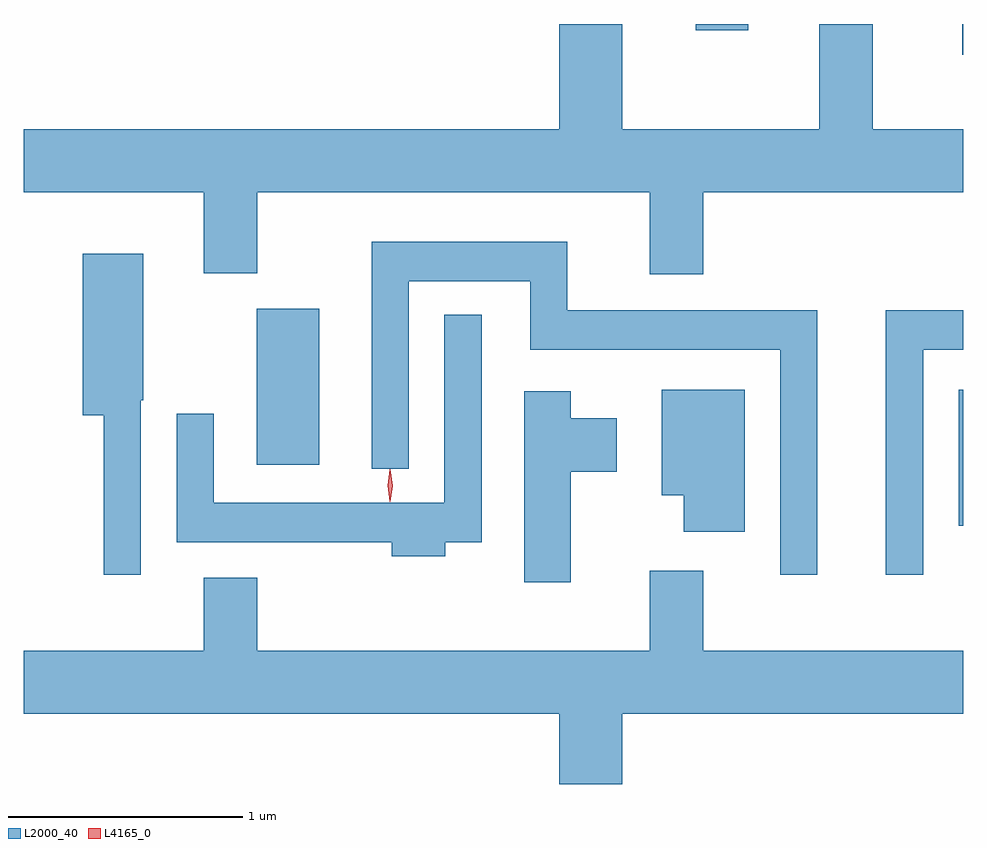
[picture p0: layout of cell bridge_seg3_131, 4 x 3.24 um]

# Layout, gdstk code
import gdstk
lib = gdstk.Library(unit=1e-6, precision=1e-09)
def R(c, l, rs):  # rectangles x0, y0, x1, y1
    for r in rs: c.add(gdstk.rectangle(r[:2], r[2:], *l))
def P(c, l, *ps):  # polygons
    for p in ps: c.add(gdstk.Polygon(p, *l))
L2000_40 = (2000, 40)
L4165_0 = (4165, 0)

bridge_seg3_131 = lib.new_cell('bridge_seg3_131')
R(bridge_seg3_131, L2000_40, [(876.116,1188.976,876.135,1189.554), (873.126,1189.236,873.394,1189.899), (876.131,1190.981,876.135,1191.112), (874.996,1191.086,875.219,1191.112)])
P(bridge_seg3_131, L2000_40, [(875.029,1190.396),(876.135,1190.396),(876.135,1190.664),(875.749,1190.664),(875.749,1191.112),(875.521,1191.112),(875.521,1190.664),(874.684,1190.664),(874.684,1191.112),(874.416,1191.112),(874.416,1190.664),(872.135,1190.664),(872.135,1190.396),(872.901,1190.396),(872.901,1190.051),(873.129,1190.051),(873.129,1190.396),(874.801,1190.396),(874.801,1190.046),(875.029,1190.046)],
  [(875.514,1189.894),(874.449,1189.894),(874.449,1190.184),(873.616,1190.184),(873.616,1189.218),(873.774,1189.218),(873.774,1190.016),(874.291,1190.016),(874.291,1189.726),(875.356,1189.726),(875.356,1188.768),(875.514,1188.768)],
  [(872.634,1189.51),(872.644,1189.51),(872.644,1190.134),(872.386,1190.134),(872.386,1189.446),(872.476,1189.446),(872.476,1188.768),(872.634,1188.768)],
  [(875.964,1189.726),(876.135,1189.726),(876.135,1189.894),(875.806,1189.894),(875.806,1188.768),(875.964,1188.768)],
  [(873.929,1188.906),(874.084,1188.906),(874.084,1189.873),(873.926,1189.873),(873.926,1189.074),(872.944,1189.074),(872.944,1189.453),(872.786,1189.453),(872.786,1188.906),(873.701,1188.906),(873.701,1188.846),(873.929,1188.846)],
  [(875.204,1189.554),(874.851,1189.554),(874.851,1189.106),(874.946,1189.106),(874.946,1188.951),(875.204,1188.951)],
  [(874.464,1189.206),(874.659,1189.206),(874.659,1189.434),(874.464,1189.434),(874.464,1189.549),(874.266,1189.549),(874.266,1188.736),(874.464,1188.736)],
  [(874.684,1188.176),(876.135,1188.176),(876.135,1188.444),(875.029,1188.444),(875.029,1188.784),(874.801,1188.784),(874.801,1188.444),(873.129,1188.444),(873.129,1188.754),(872.901,1188.754),(872.901,1188.444),(872.135,1188.444),(872.135,1188.176),(874.416,1188.176),(874.416,1187.876),(874.684,1187.876)])
P(bridge_seg3_131, L4165_0, [(873.695,1189.077),(873.694,1189.078),(873.685,1189.146),(873.694,1189.216),(873.695,1189.216),(873.695,1189.216),(873.705,1189.146),(873.695,1189.078)],
  [(873.695,1189.079),(873.694,1189.08),(873.685,1189.146),(873.694,1189.212),(873.695,1189.213),(873.695,1189.212),(873.705,1189.146),(873.695,1189.08)])

lib.write_gds('bridge_seg3_131.gds')
